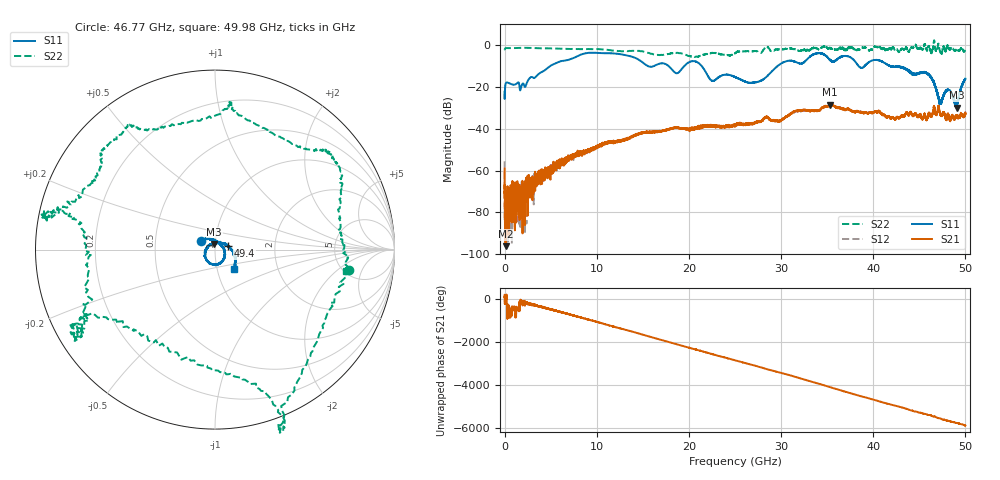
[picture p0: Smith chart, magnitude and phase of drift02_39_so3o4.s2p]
!Created with skrf (http://scikit-rf.org).
# Hz S RI R 50.0
!freq ReS11 ImS11 ReS21 ImS21 ReS12 ImS12 ReS22 ImS22
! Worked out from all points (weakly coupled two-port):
!   10001 points, 300 kHz to 50 GHz, reference 50 ohm
!   highest |S21| = -28.48 dB at 35.31 GHz (marker M1); lowest = -96.1 dB at 100.3 MHz (marker M2)
!   lowest |S11| = -29.9 dB at 49.06 GHz (marker M3), VSWR 1.07, Z = 49.5 + j3.14 ohm
!   |S11| at or under -10 dB: start of sweep to 4.957 GHz; 21.38 GHz to 29.63 GHz (8.248 GHz wide, 32.3 % of centre); 41.84 GHz to end of sweep (the widest 3 of 9)
!   |S22| runs from -5.7 to 2.2 dB; largest |S21 - S12| = 0.0034
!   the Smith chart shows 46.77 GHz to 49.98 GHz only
!   S11 on the Smith chart (normalised r, x): 46.77 GHz: 0.85, +0.08; 49.4 GHz: 1.16, +0.05; 49.98 GHz: 1.21, -0.27
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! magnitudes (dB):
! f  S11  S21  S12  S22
! 300 kHz  -22.3  -59.1  -55.5  -2.0
! 100.3 MHz  -18.6  -96.1  -79.6  -1.5
! 255.3 MHz  -17.9  -79.2  -72.7  -1.4
! 1.755 GHz  -20.8  -72.0  -77.8  -1.4
! 3.67 GHz  -13.9  -61.9  -64.0  -1.5
! 8.335 GHz  -4.5  -51.6  -52.7  -1.9
! 16.67 GHz  -9.1  -41.5  -41.2  -4.7
! 20.6 GHz  -7.7  -39.9  -39.6  -5.7
! 22.51 GHz  -17.1  -38.5  -38.9  -3.7
! 25 GHz  -15.2  -38.0  -38.3  -3.9
! 27.5 GHz  -17.5  -36.8  -36.5  -3.2
! 33.34 GHz  -4.8  -31.2  -31.2  -1.6
! 35.31 GHz  -7.1  -28.5  -28.7  -1.4
! 41.67 GHz  -9.7  -34.0  -34.2  -1.9
! 45.79 GHz  -13.6  -35.9  -35.6  -2.3
! 46.77 GHz  -20.7  -32.9  -32.9  -2.4
! 47.27 GHz  -26.6  -33.0  -33.2  -3.3
! 48.14 GHz  -21.3  -33.3  -32.9  -0.7
! 49.06 GHz  -29.9  -34.0  -34.0  -1.7
! 49.4 GHz  -22.4  -34.9  -34.1  -2.5
! 49.98 GHz  -16.3  -32.3  -32.9  -2.6
! 50 GHz  -16.1  -32.7  -33.2  -2.7
